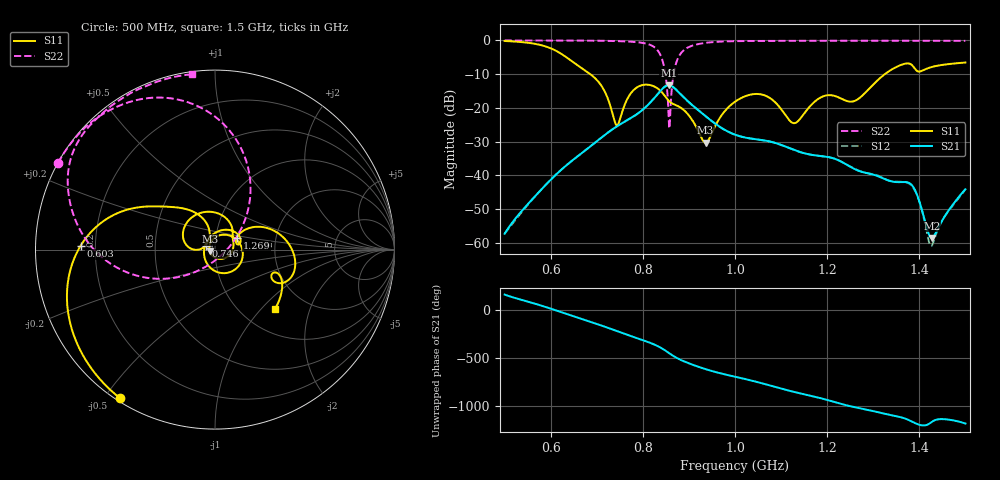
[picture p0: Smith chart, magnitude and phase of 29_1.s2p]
! TOUCHSTONE file generated by CST MICROWAVE STUDIO
! Date and time: Fri Oct  2 18:36:50 2020
! Project name: Scenario_1_Free_Space_out_of_line.cst
! Parameters = {Lambda=346.42; Step_1=17.321; dy1=-137.908; dx1=173; L_HA=400; MT=2.54; Rad_Dielectric=30; Rad_Lower=7.3; Rad_Upper=30; a_HA=580; a_WG=246; b_HA=500; b_WG=121; c_HA=0; c_WG=187; d_feed=85; h_feed=15; h_lower=18; h_upper=40}
! Header version: 2018
! Port assignment regex: !\s*Touchstone port\s*([0-9]+)\s*=\s*(CST MWS port|CST DS port)\s*([0-9]+|Zmin|Zmax)\s*\(\"(.*)\"\)(\s*mode\s*([0-9]+))?.*
! Touchstone port assignment:
! Touchstone port 1 = CST MWS port 1 ("")
! Touchstone port 2 = CST MWS port 2 ("")
# GHz S DB R 50
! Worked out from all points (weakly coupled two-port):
!   1003 points, 500 MHz to 1.5 GHz, reference 50 ohm
!   highest |S21| = -13.29 dB at 856 MHz (marker M1); lowest = -58.6 dB at 1.427 GHz (marker M2)
!   lowest |S11| = -30.3 dB at 936 MHz (marker M3), VSWR 1.06, Z = 47.2 - j0.86 ohm
!   |S11| at or under -10 dB: 685.9 MHz to 1.325 GHz (639.3 MHz wide, 63.6 % of centre)
!   |S22| runs from -26.1 to 0.0 dB; largest |S21 - S12| = 0.00084
!   S11 on the Smith chart (normalised r, x): 500 MHz: 0.01, -0.55; 603 MHz: 0.14, +0.01; 746 MHz: 0.90, +0.04; 1.269 GHz: 1.26, +0.17; 1.5 GHz: 1.41, -1.20
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0.5  -0.16 -122.7  -57.31 163.3  -57.29 163.5  -0.01 151.1
0.562  -0.91 -154.3  -46.79 73.2  -46.88 73.2  -0.01 146.9
0.603  -2.51 178.4  -40.91 11.5  -40.88 11.5  -0.02 143.8
0.667  -8.20 141.8  -33.45 -91.4  -33.45 -91.3  -0.04 138.2
0.71  -13.42 115.0  -28.82 -160.2  -28.82 -160.2  -0.10 133.4
0.746  -24.95 156.2  -25.27 137.6  -25.26 137.7  -0.21 128.1
0.783  -14.35 158.3  -22.23 74.8  -22.28 74.9  -0.46 119.6
0.834  -14.43 73.9  -15.62 -19.9  -15.60 -19.9  -3.31 84.4
0.846  -16.14 52.7  -13.90 -53.1  -13.87 -53.1  -7.74 61.2
0.856  -17.86 39.7  -13.29 -85.6  -13.28 -85.6  -22.47 6.9
0.867  -18.91 27.6  -13.96 -120.7  -13.96 -120.8  -9.77 -150.0
0.88  -19.76 7.0  -15.68 -154.9  -15.68 -155.0  -4.32 -174.1
0.936  -30.35 -162.6  -22.43 103.8  -22.44 103.8  -0.72 152.9
1  -18.17 33.6  -27.93 24.4  -27.94 24.9  -0.22 140.1
1.064  -16.27 -51.9  -29.65 -51.3  -29.66 -51.3  -0.15 132.7
1.128  -24.53 166.3  -32.46 -134.2  -32.45 -134.3  -0.11 127.2
1.167  -18.91 71.7  -33.94 -177.6  -33.94 -177.5  -0.10 124.0
1.269  -17.20 28.5  -38.68 57.6  -38.62 56.9  -0.08 116.2
1.334  -9.14 17.1  -41.58 -11.2  -41.55 -10.6  -0.10 111.4
1.387  -7.76 -27.3  -43.48 -91.7  -43.70 -90.6  -0.09 107.3
1.427  -7.87 -23.8  -58.59 -88.2  -60.85 -81.6  -0.10 104.0
1.5  -6.55 -44.6  -44.14 -104.8  -44.14 -104.8  -0.13 97.6
